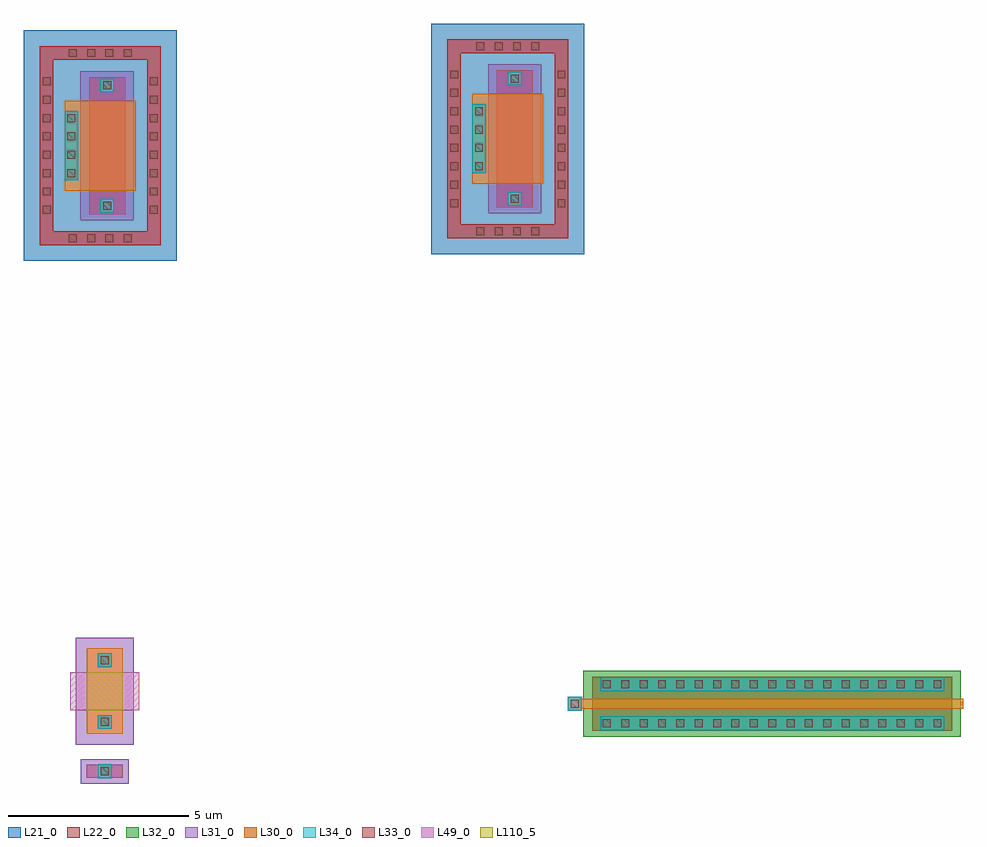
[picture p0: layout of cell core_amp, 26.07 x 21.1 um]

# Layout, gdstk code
from math import pi, radians
import gdstk
lib = gdstk.Library(unit=1e-6, precision=1e-09)
def R(c, l, rs):  # rectangles x0, y0, x1, y1
    for r in rs: c.add(gdstk.rectangle(r[:2], r[2:], *l))
def A(c, l, x, y, w, h, nx, ny, dx, dy):  # array of equal rectangles
    R(c, l, [(x+i*dx, y+j*dy, x+i*dx+w, y+j*dy+h) for i in range(nx) for j in range(ny)])
def P(c, l, *ps):  # polygons
    for p in ps: c.add(gdstk.Polygon(p, *l))
L21_0 = (21, 0)
L22_0 = (22, 0)
L30_0 = (30, 0)
L31_0 = (31, 0)
L32_0 = (32, 0)
L33_0 = (33, 0)
L34_0 = (34, 0)
L49_0 = (49, 0)
L110_5 = (110, 5)

ppolyf_u_resistor = lib.new_cell('ppolyf_u_resistor')
R(ppolyf_u_resistor, L22_0, [(-1.88,0,-1.52,1)])
R(ppolyf_u_resistor, L30_0, [(-0.66,0,1.71,1)])
R(ppolyf_u_resistor, L31_0, [(-0.96,-0.3,2.01,1.3), (-2.04,-0.16,-1.36,1.16)])
R(ppolyf_u_resistor, L33_0, [(-1.81,0.39,-1.59,0.61), (-0.44,0.39,-0.22,0.61), (1.27,0.39,1.49,0.61)])
R(ppolyf_u_resistor, L34_0, [(-1.89,0.309,-1.51,0.691), (-0.52,0.309,-0.14,0.691), (1.19,0.309,1.57,0.691)])
R(ppolyf_u_resistor, L49_0, [(0,-0.457,1.05,1.457)])
R(ppolyf_u_resistor, L110_5, [(0,0,1.05,1)])

nfet = lib.new_cell('nfet')
R(nfet, L22_0, [(-0.42,0,0,10), (0,0,0.66,10), (0.66,0,1.08,10)])
R(nfet, L30_0, [(0.19,-0.3,0.47,10.3), (0.15,10.3,0.51,10.66)])
R(nfet, L32_0, [(-0.59,-0.24,1.25,10.24)])
A(nfet, L33_0, -0.32, 0.3, 0.22, 0.22, 1, 19, 0, 0.51)
A(nfet, L33_0, 0.76, 0.3, 0.22, 0.22, 1, 19, 0, 0.51)
R(nfet, L33_0, [(0.22,10.37,0.44,10.59)])
R(nfet, L34_0, [(-0.4,0.22,-0.02,9.78), (0.68,0.22,1.06,9.78), (0.14,10.289,0.52,10.671)])

pfet = lib.new_cell('pfet')
R(pfet, L21_0, [(-1.76,-1.43,4.64,2.81)])
R(pfet, L22_0, [(-0.46,0,0,1), (0,0,2.88,1), (2.88,0,3.34,1)])
P(pfet, L22_0, [(-1.32,-0.99),(-1.32,1.99),(-0.94,1.99),(-0.94,-0.61),(3.82,-0.61),(3.82,1.99),(-1.32,1.99),(-1.32,2.37),(4.2,2.37),(4.2,-0.99)])
R(pfet, L30_0, [(0.19,-0.3,2.69,1.3), (0.19,1.3,2.69,1.68)])
R(pfet, L31_0, [(-0.63,-0.24,3.51,1.24)])
A(pfet, L33_0, -0.455, -0.91, 0.22, 0.22, 8, 2, 0.51, 2.98)
A(pfet, L33_0, -1.24, -0.185, 0.22, 0.22, 1, 4, 0, 0.51)
A(pfet, L33_0, 3.9, -0.185, 0.22, 0.22, 1, 4, 0, 0.51)
A(pfet, L33_0, 0.565, 1.38, 0.22, 0.22, 4, 1, 0.51, 0)
R(pfet, L33_0, [(-0.34,0.39,-0.12,0.61), (3,0.39,3.22,0.61)])
R(pfet, L34_0, [(-0.42,0.309,-0.04,0.691), (2.92,0.309,3.3,0.691), (0.485,1.3,2.395,1.68)])

core_amp = lib.new_cell('core_amp')
r = gdstk.Reference(ppolyf_u_resistor, (6.45,6.005), rotation=pi/2); r.repetition = gdstk.Repetition(1, 1, v1=(0,0), v2=(0,0)); core_amp.add(r)
r = gdstk.Reference(nfet, (29.48,5.85), rotation=pi/2); r.repetition = gdstk.Repetition(1, 1, v1=(0,0), v2=(0,0)); core_amp.add(r)
r = gdstk.Reference(pfet, (6.515,20.235), rotation=pi/2); r.repetition = gdstk.Repetition(1, 1, v1=(0,0), v2=(0,0)); core_amp.add(r)
r = gdstk.Reference(pfet, (17.83,20.425), rotation=pi/2); r.repetition = gdstk.Repetition(1, 1, v1=(0,0), v2=(0,0)); core_amp.add(r)

lib.write_gds('core_amp.gds')
